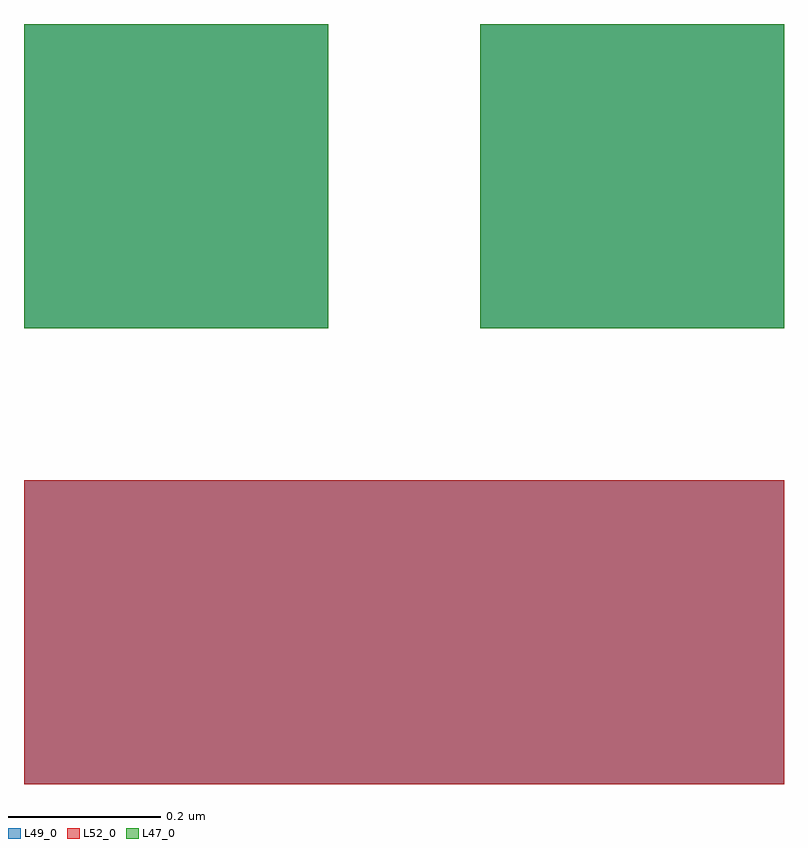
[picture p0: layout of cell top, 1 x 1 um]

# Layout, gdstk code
import gdstk
lib = gdstk.Library(unit=1e-6, precision=1e-09)
def R(c, l, rs):  # rectangles x0, y0, x1, y1
    for r in rs: c.add(gdstk.rectangle(r[:2], r[2:], *l))
L47_0 = (47, 0)
L49_0 = (49, 0)
L52_0 = (52, 0)

top = lib.new_cell('top')
R(top, L47_0, [(0,0.6,0.4,1), (0.6,0.6,1,1)])
R(top, L49_0, [(0,0,1,0.4), (0,0.6,0.4,1), (0.6,0.6,1,1)])
R(top, L52_0, [(0,0,1,0.4)])

lib.write_gds('top.gds')
